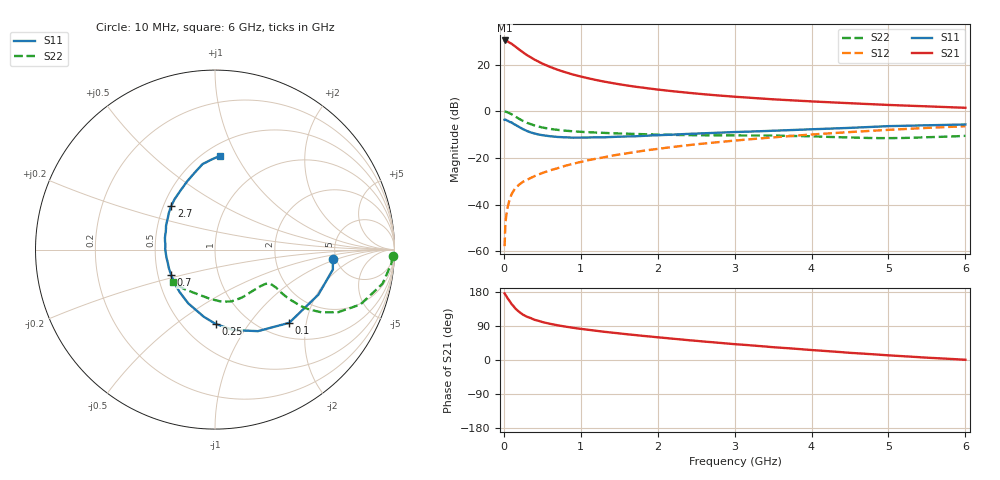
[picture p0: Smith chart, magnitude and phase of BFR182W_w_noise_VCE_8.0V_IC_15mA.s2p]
! Infineon Technologies  Discrete & RF Semiconductors
! BFR182W
! VCE =  8.0 V,  IC =  15 mA
! Common Emitter S-Parameters:  Jan 2017
# GHz  S  MA  R  50
!  f  S11  S21  S12  S22
! GHz  MAG  ANG  MAG  ANG  MAG  ANG  MAG  ANG
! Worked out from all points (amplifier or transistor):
!   77 points, 10 MHz to 6 GHz, reference 50 ohm
!   highest |S21| = 30.3 dB at 10 MHz (marker M1)
!   |S21| within 3 dB of that: start of sweep to 165.1 MHz
!   unconditionally stable (mu >= 1): 936.2 MHz to 2.474 GHz
!   at 130 MHz: K = 0.36, MSG = 31.0 dB, |S12| = -33.9 dB
!   at 2.2 GHz: K = 1.02, MAG = 11.1 dB, |S12| = -15.3 dB
!   at 6 GHz: K = 0.86, MSG = 3.9 dB, |S12| = -6.4 dB
!   lowest NFmin = 1.25 dB at 450 MHz
!   S11 on the Smith chart (normalised r, x): 10 MHz: 4.68, -0.89; 100 MHz: 1.30, -1.60; 250 MHz: 0.71, -0.71; 700 MHz: 0.59, -0.18; 2.7 GHz: 0.55, +0.30; 6 GHz: 0.60, +0.86
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0.01  0.6589 -4.7  32.79 175.6  0.0013 91.0  0.9907 -2.2
0.02  0.666 -9.6  32.76 172.5  0.004 94.5  0.9847 -4.8
0.05  0.6281 -23.6  31.29 162.5  0.0089 79.2  0.9525 -11.5
0.1  0.5807 -44.6  27.98 147.7  0.0167 72.0  0.8659 -20.7
0.15  0.5136 -62.2  24.27 135.8  0.0228 67.3  0.7709 -26.9
0.2  0.4606 -77.0  20.94 126.8  0.027 65.5  0.6882 -30.5
0.25  0.4143 -89.5  18.22 119.5  0.0311 63.8  0.6215 -32.5
0.3  0.3793 -99.5  15.94 114.2  0.034 63.1  0.5674 -33.4
0.4  0.3347 -116.4  12.72 106.0  0.041 64.1  0.4957 -33.7
0.5  0.3081 -129.7  10.49 100.2  0.0478 64.7  0.4502 -33.2
0.6  0.2929 -140.6  8.925 95.5  0.0545 65.5  0.4206 -32.5
0.7  0.2824 -149.7  7.735 91.6  0.0606 67.3  0.4001 -31.9
0.9  0.2732 -164.2  6.111 85.0  0.0752 68.1  0.3732 -31.7
1.1  0.2748 -175.7  5.074 79.7  0.09 69.0  0.3572 -32.2
1.3  0.2777 174.5  4.331 74.6  0.1037 68.7  0.3454 -33.4
1.5  0.2863 166.9  3.791 70.2  0.119 68.5  0.3352 -35.5
2.1  0.3119 148.5  2.8 58.1  0.1648 66.1  0.3151 -44.7
2.7  0.3435 135.1  2.244 47.1  0.2119 62.5  0.3065 -56.8
3.1  0.3637 126.9  1.999 40.4  0.2439 59.7  0.3039 -64.8
4.1  0.418 110.3  1.599 24.9  0.3265 51.6  0.2879 -85.3
5.1  0.4851 97.1  1.348 11.1  0.4086 42.3  0.2674 -115.1
6  0.5227 87.1  1.189 0.6  0.4797 33.4  0.2983 -142.2
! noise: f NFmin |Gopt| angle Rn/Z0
0.45  1.25  0.04  146  0.15
0.9  1.33  0.05  146  0.15
1.9  1.82  0.24  -148  0.15
2.4  2.07  0.24  -133  0.22
